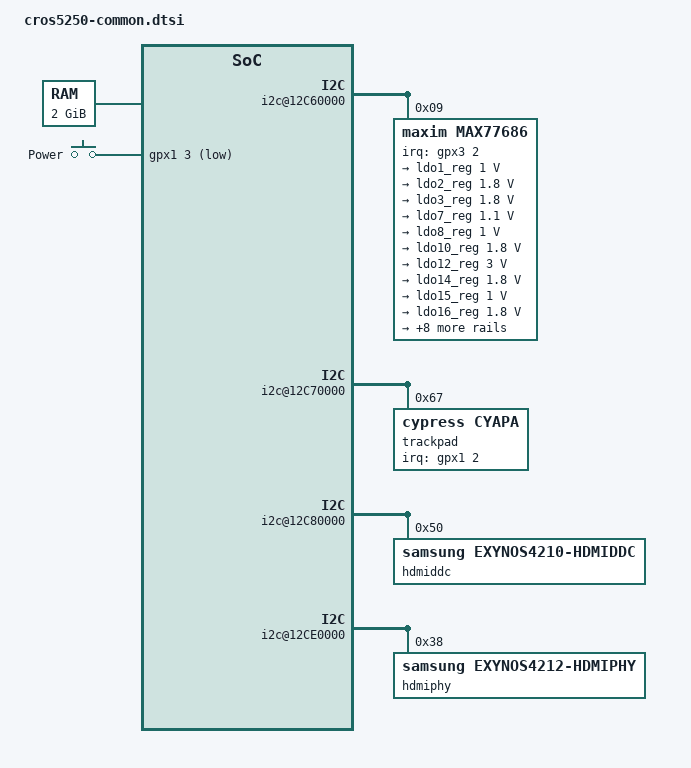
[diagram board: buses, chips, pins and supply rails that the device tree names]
/*
 * Common device tree include for all Exynos 5250 boards based off of Daisy.
 *
 * Copyright (c) 2012 Google, Inc
 *
 * This program is free software; you can redistribute it and/or modify
 * it under the terms of the GNU General Public License version 2 as
 * published by the Free Software Foundation.
*/

/ {
	aliases {
	};

	memory {
		reg = <0x40000000 0x80000000>;
	};

	chosen {
	};

	pinctrl@11400000 {
		/*
		 * Disabled pullups since external part has its own pullups and
		 * double-pulling gets us out of spec in some cases.
		 */
		i2c2_bus: i2c2-bus {
			samsung,pin-pud = <0>;
		};

		max77686_irq: max77686-irq {
			samsung,pins = "gpx3-2";
			samsung,pin-function = <0>;
			samsung,pin-pud = <0>;
			samsung,pin-drv = <0>;
		};
	};

	i2c@12C60000 {
		samsung,i2c-sda-delay = <100>;
		samsung,i2c-max-bus-freq = <378000>;

		max77686@09 {
			compatible = "maxim,max77686";
			interrupt-parent = <&gpx3>;
			interrupts = <2 0>;
			pinctrl-names = "default";
			pinctrl-0 = <&max77686_irq>;
			wakeup-source;
			reg = <0x09>;

			voltage-regulators {
				ldo1_reg: LDO1 {
					regulator-name = "P1.0V_LDO_OUT1";
					regulator-min-microvolt = <1000000>;
					regulator-max-microvolt = <1000000>;
					regulator-always-on;
				};

				ldo2_reg: LDO2 {
					regulator-name = "P1.8V_LDO_OUT2";
					regulator-min-microvolt = <1800000>;
					regulator-max-microvolt = <1800000>;
					regulator-always-on;
				};

				ldo3_reg: LDO3 {
					regulator-name = "P1.8V_LDO_OUT3";
					regulator-min-microvolt = <1800000>;
					regulator-max-microvolt = <1800000>;
					regulator-always-on;
				};

				ldo7_reg: LDO7 {
					regulator-name = "P1.1V_LDO_OUT7";
					regulator-min-microvolt = <1100000>;
					regulator-max-microvolt = <1100000>;
					regulator-always-on;
				};

				ldo8_reg: LDO8 {
					regulator-name = "P1.0V_LDO_OUT8";
					regulator-min-microvolt = <1000000>;
					regulator-max-microvolt = <1000000>;
					regulator-always-on;
				};

				ldo10_reg: LDO10 {
					regulator-name = "P1.8V_LDO_OUT10";
					regulator-min-microvolt = <1800000>;
					regulator-max-microvolt = <1800000>;
					regulator-always-on;
				};

				ldo12_reg: LDO12 {
					regulator-name = "P3.0V_LDO_OUT12";
					regulator-min-microvolt = <3000000>;
					regulator-max-microvolt = <3000000>;
					regulator-always-on;
				};

				ldo14_reg: LDO14 {
					regulator-name = "P1.8V_LDO_OUT14";
					regulator-min-microvolt = <1800000>;
					regulator-max-microvolt = <1800000>;
					regulator-always-on;
				};

				ldo15_reg: LDO15 {
					regulator-name = "P1.0V_LDO_OUT15";
					regulator-min-microvolt = <1000000>;
					regulator-max-microvolt = <1000000>;
					regulator-always-on;
				};

				ldo16_reg: LDO16 {
					regulator-name = "P1.8V_LDO_OUT16";
					regulator-min-microvolt = <1800000>;
					regulator-max-microvolt = <1800000>;
					regulator-always-on;
				};

				buck1_reg: BUCK1 {
					regulator-name = "vdd_mif";
					regulator-min-microvolt = <950000>;
					regulator-max-microvolt = <1300000>;
					regulator-always-on;
					regulator-boot-on;
				};

				buck2_reg: BUCK2 {
					regulator-name = "vdd_arm";
					regulator-min-microvolt = <850000>;
					regulator-max-microvolt = <1350000>;
					regulator-always-on;
					regulator-boot-on;
				};

				buck3_reg: BUCK3 {
					regulator-name = "vdd_int";
					regulator-min-microvolt = <900000>;
					regulator-max-microvolt = <1200000>;
					regulator-always-on;
					regulator-boot-on;
				};

				buck4_reg: BUCK4 {
					regulator-name = "vdd_g3d";
					regulator-min-microvolt = <850000>;
					regulator-max-microvolt = <1300000>;
					regulator-always-on;
					regulator-boot-on;
				};

				buck5_reg: BUCK5 {
					regulator-name = "P1.8V_BUCK_OUT5";
					regulator-min-microvolt = <1800000>;
					regulator-max-microvolt = <1800000>;
					regulator-always-on;
					regulator-boot-on;
				};

				buck6_reg: BUCK6 {
					regulator-name = "P1.35V_BUCK_OUT6";
					regulator-min-microvolt = <1350000>;
					regulator-max-microvolt = <1350000>;
					regulator-always-on;
				};

				buck7_reg: BUCK7 {
					regulator-name = "P2.0V_BUCK_OUT7";
					regulator-min-microvolt = <2000000>;
					regulator-max-microvolt = <2000000>;
					regulator-always-on;
				};

				buck8_reg: BUCK8 {
					regulator-name = "P2.85V_BUCK_OUT8";
					regulator-min-microvolt = <2850000>;
					regulator-max-microvolt = <2850000>;
					regulator-always-on;
				};
			};
		};
	};

	i2c@12C70000 {
		samsung,i2c-sda-delay = <100>;
		samsung,i2c-max-bus-freq = <378000>;

		trackpad {
			reg = <0x67>;
			compatible = "cypress,cyapa";
			interrupts = <2 0>;
			interrupt-parent = <&gpx1>;
			wakeup-source;
		};
	};

	i2c@12C80000 {
		samsung,i2c-sda-delay = <100>;
		samsung,i2c-max-bus-freq = <66000>;

		hdmiddc@50 {
			compatible = "samsung,exynos4210-hdmiddc";
			reg = <0x50>;
		};
	};

	i2c@12C90000 {
		samsung,i2c-sda-delay = <100>;
		samsung,i2c-max-bus-freq = <66000>;
	};

	i2c@12CA0000 {
		samsung,i2c-sda-delay = <100>;
		samsung,i2c-max-bus-freq = <66000>;
	};

	i2c@12CB0000 {
		samsung,i2c-sda-delay = <100>;
		samsung,i2c-max-bus-freq = <66000>;
	};

	i2c@12CC0000 {
		status = "disabled";
	};

	i2c@12CD0000 {
		samsung,i2c-sda-delay = <100>;
		samsung,i2c-max-bus-freq = <66000>;
	};

	i2c@12CE0000 {
		samsung,i2c-sda-delay = <100>;
		samsung,i2c-max-bus-freq = <378000>;

		hdmiphy@38 {
			compatible = "samsung,exynos4212-hdmiphy";
			reg = <0x38>;
		};
	};

	mmc@12200000 {
		num-slots = <1>;
		supports-highspeed;
		broken-cd;
		card-detect-delay = <200>;
		samsung,dw-mshc-ciu-div = <3>;
		samsung,dw-mshc-sdr-timing = <2 3>;
		samsung,dw-mshc-ddr-timing = <1 2>;
		pinctrl-names = "default";
		pinctrl-0 = <&sd0_clk &sd0_cmd &sd0_cd &sd0_bus4 &sd0_bus8>;

		slot@0 {
			reg = <0>;
			bus-width = <8>;
		};
	};

	mmc@12210000 {
		status = "disabled";
	};

	mmc@12220000 {
		num-slots = <1>;
		supports-highspeed;
		card-detect-delay = <200>;
		samsung,dw-mshc-ciu-div = <3>;
		samsung,dw-mshc-sdr-timing = <2 3>;
		samsung,dw-mshc-ddr-timing = <1 2>;
		pinctrl-names = "default";
		pinctrl-0 = <&sd2_clk &sd2_cmd &sd2_cd &sd2_bus4>;

		slot@0 {
			reg = <0>;
			bus-width = <4>;
			wp-gpios = <&gpc2 1 0>;
		};
	};

	mmc@12230000 {
		num-slots = <1>;
		supports-highspeed;
		broken-cd;
		card-detect-delay = <200>;
		samsung,dw-mshc-ciu-div = <3>;
		samsung,dw-mshc-sdr-timing = <2 3>;
		samsung,dw-mshc-ddr-timing = <1 2>;
		/* See board-specific dts files for pin setup */

		slot@0 {
			reg = <0>;
			bus-width = <4>;
		};
	};

	spi_0: spi@12d20000 {
		status = "disabled";
	};

	spi_1: spi@12d30000 {
		samsung,spi-src-clk = <0>;
		num-cs = <1>;
	};

	spi_2: spi@12d40000 {
		status = "disabled";
	};

	hdmi {
		hpd-gpio = <&gpx3 7 0>;
	};

	gpio-keys {
		compatible = "gpio-keys";

		power {
			label = "Power";
			gpios = <&gpx1 3 1>;
			linux,code = <116>; /* KEY_POWER */
			gpio-key,wakeup;
		};
	};
};
